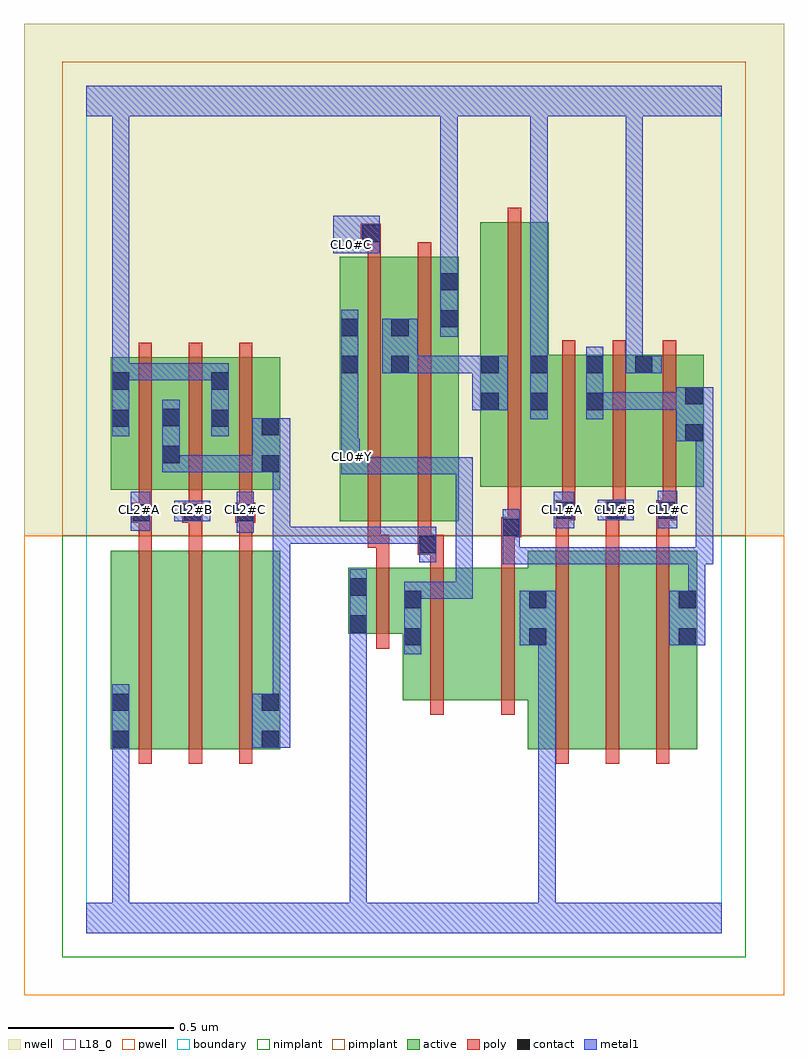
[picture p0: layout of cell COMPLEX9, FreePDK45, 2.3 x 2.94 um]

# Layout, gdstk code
import gdstk
lib = gdstk.Library(unit=1e-6, precision=1e-09)
def R(c, l, rs):  # rectangles x0, y0, x1, y1
    for r in rs: c.add(gdstk.rectangle(r[:2], r[2:], *l))
def A(c, l, x, y, w, h, nx, ny, dx, dy):  # array of equal rectangles
    R(c, l, [(x+i*dx, y+j*dy, x+i*dx+w, y+j*dy+h) for i in range(nx) for j in range(ny)])
active = (1, 0)
pwell = (2, 0)
nwell = (3, 0)
nimplant = (4, 0)
pimplant = (5, 0)
poly = (9, 0)
contact = (10, 0)
metal1 = (11, 0)
L18_0 = (18, 0)
boundary = (235, 0)

complex9 = lib.new_cell('COMPLEX9')
R(complex9, active, [(0.074,0.556,0.134,1.156), (0.074,0.556,0.254,1.156), (0.254,0.556,0.406,1.156), (0.406,0.556,0.586,1.156), (0.526,0.556,0.586,1.156), (1.334,0.556,1.514,1.156), (1.334,0.556,1.394,1.104), (1.514,0.556,1.666,1.156), (1.666,0.556,1.846,1.156), (1.786,0.556,1.846,1.156), (0.956,0.704,1.136,1.104), (1.136,0.704,1.394,1.104), (0.956,0.866,1.016,1.038), (0.792,0.904,1.016,1.104), (0.792,0.904,0.852,1.104), (0.766,1.244,0.826,2.044), (0.766,1.244,0.978,2.044), (0.918,1.244,1.126,2.044), (0.918,1.244,0.978,2.044), (1.066,1.244,1.126,2.044), (0.074,1.34,0.134,1.74), (0.074,1.34,0.286,1.74), (0.226,1.34,0.434,1.74), (0.374,1.34,0.586,1.74), (0.526,1.34,0.586,1.644), (1.19,1.348,1.398,2.148), (1.19,1.348,1.25,2.044), (1.338,1.348,1.398,1.748), (1.338,1.348,1.566,1.748), (1.506,1.348,1.566,1.748), (1.506,1.348,1.714,1.748), (1.654,1.348,1.714,1.748), (1.654,1.348,1.866,1.748), (1.806,1.348,1.866,1.748), (0.226,1.416,0.286,1.644), (0.374,1.472,0.434,1.698)])
R(complex9, pwell, [(-0.188,-0.188,2.108,1.2)])
R(complex9, nwell, [(-0.188,1.2,2.108,2.748)])
R(complex9, nimplant, [(-0.072,-0.072,1.992,1.2)])
R(complex9, pimplant, [(-0.072,1.2,1.992,2.632)])
A(complex9, poly, 0.158, 0.512, 0.04, 0.688, 3, 1, 0.152, 0)
A(complex9, poly, 1.418, 0.512, 0.04, 0.688, 3, 1, 0.152, 0)
A(complex9, poly, 0.158, 1.16, 0.04, 0.12, 3, 1, 0.152, 0)
A(complex9, poly, 1.418, 1.16, 0.04, 0.128, 3, 1, 0.152, 0)
A(complex9, poly, 1.418, 1.248, 0.06, 0.06, 3, 1, 0.152, 0)
A(complex9, poly, 0.158, 1.26, 0.04, 0.076, 3, 1, 0.152, 0)
A(complex9, poly, 1.438, 1.268, 0.04, 0.076, 3, 1, 0.152, 0)
A(complex9, poly, 0.158, 1.296, 0.04, 0.488, 3, 1, 0.152, 0)
A(complex9, poly, 1.438, 1.304, 0.04, 0.488, 3, 1, 0.152, 0)
R(complex9, poly, [(1.04,0.66,1.08,1.148), (1.254,0.66,1.294,1.148), (0.876,0.86,0.916,1.148), (0.876,1.108,0.916,1.204), (1.04,1.108,1.08,1.184), (1.254,1.108,1.294,1.236), (1.002,1.144,1.08,1.204), (0.85,1.164,0.89,1.24), (0.85,1.164,0.89,1.204), (0.85,1.164,0.89,1.204), (0.85,1.164,0.916,1.204), (1.002,1.164,1.042,1.24), (1.002,1.164,1.042,1.204), (1.002,1.164,1.042,1.204), (1.254,1.196,1.314,1.256), (0.85,1.2,0.89,2.088), (1.002,1.2,1.042,2.088), (1.274,1.216,1.314,1.256), (1.274,1.216,1.314,1.256), (1.274,1.216,1.314,1.344), (0.138,1.24,0.198,1.3), (0.158,1.24,0.198,1.28), (0.158,1.24,0.198,1.28), (0.29,1.24,0.35,1.3), (0.31,1.24,0.35,1.28), (0.31,1.24,0.35,1.28), (0.45,1.24,0.51,1.3), (0.462,1.24,0.502,1.28), (0.462,1.24,0.502,1.28), (1.418,1.248,1.458,1.288), (1.418,1.248,1.458,1.288), (1.57,1.248,1.61,1.288), (1.57,1.248,1.61,1.288), (1.722,1.248,1.762,1.288), (1.722,1.248,1.762,1.288), (1.274,1.304,1.314,2.192), (0.85,2.048,0.89,2.124), (0.83,2.084,0.89,2.144)])
A(complex9, contact, 1.422, 1.252, 0.052, 0.052, 3, 1, 0.152, 0)
R(complex9, contact, [(0.078,0.56,0.13,0.612), (0.53,0.56,0.582,0.612), (0.078,0.672,0.13,0.724), (0.53,0.672,0.582,0.724), (0.96,0.87,1.012,0.922), (1.338,0.87,1.39,0.922), (1.79,0.87,1.842,0.922), (0.796,0.908,0.848,0.96), (0.96,0.982,1.012,1.034), (1.338,0.982,1.39,1.034), (1.79,0.982,1.842,1.034), (0.796,1.02,0.848,1.072), (1.006,1.148,1.058,1.2), (1.258,1.2,1.31,1.252), (0.142,1.244,0.194,1.296), (0.294,1.244,0.346,1.296), (0.454,1.244,0.506,1.296), (0.53,1.392,0.582,1.444), (0.23,1.42,0.282,1.472), (1.81,1.486,1.862,1.538), (0.53,1.504,0.582,1.556), (0.078,1.53,0.13,1.582), (0.378,1.53,0.43,1.582), (0.23,1.532,0.282,1.584), (1.194,1.58,1.246,1.632), (1.342,1.58,1.394,1.632), (1.51,1.58,1.562,1.632), (1.81,1.598,1.862,1.65), (0.078,1.642,0.13,1.694), (0.378,1.642,0.43,1.694), (0.77,1.692,0.822,1.744), (0.922,1.692,0.974,1.744), (1.194,1.692,1.246,1.744), (1.342,1.692,1.394,1.744), (1.51,1.692,1.562,1.744), (1.658,1.692,1.71,1.744), (0.77,1.804,0.822,1.856), (0.922,1.804,0.974,1.856), (1.07,1.83,1.122,1.882), (1.07,1.942,1.122,1.994), (0.834,2.088,0.886,2.14)])
R(complex9, metal1, [(0,0,1.92,0.092), (0.078,0.04,0.13,0.092), (0.078,0.04,0.13,0.092), (0.078,0.04,0.13,0.092), (0.078,0.04,0.13,0.092), (0.078,0.04,0.13,0.092), (0.078,0.04,0.13,0.092), (0.078,0.04,0.13,0.092), (0.078,0.04,0.13,0.092), (0.078,0.04,0.13,0.584), (0.796,0.04,0.848,0.092), (0.796,0.04,0.848,0.092), (0.796,0.04,0.848,0.092), (0.796,0.04,0.848,0.092), (0.796,0.04,0.848,0.092), (0.796,0.04,0.848,0.092), (0.796,0.04,0.848,0.092), (0.796,0.04,0.848,0.092), (0.796,0.04,0.848,0.092), (0.796,0.04,0.848,0.092), (0.796,0.04,0.848,0.092), (0.796,0.04,0.848,0.092), (0.796,0.04,0.848,0.092), (0.796,0.04,0.848,0.092), (0.796,0.04,0.848,0.092), (0.796,0.04,0.848,0.092), (0.796,0.04,0.848,0.932), (1.366,0.04,1.418,0.092), (1.366,0.04,1.418,0.092), (1.366,0.04,1.418,0.092), (1.366,0.04,1.418,0.092), (1.366,0.04,1.418,0.092), (1.366,0.04,1.418,0.092), (1.366,0.04,1.418,0.922), (0.078,0.532,0.13,0.752), (0.502,0.56,0.616,0.724), (0.564,0.672,0.616,1.228), (0.96,0.842,1.012,1.062), (1.31,0.87,1.418,1.034), (1.366,0.87,1.418,0.922), (1.366,0.87,1.418,0.922), (1.762,0.87,1.87,1.034), (0.796,0.88,0.848,1.1), (1.818,0.982,1.87,1.166), (0.96,1.01,1.012,1.062), (0.96,1.01,1.012,1.062), (0.96,1.01,1.168,1.062), (1.116,1.01,1.168,1.062), (1.116,1.01,1.168,1.438), (1.258,1.114,1.42,1.166), (1.258,1.114,1.31,1.224), (1.368,1.114,1.42,1.166), (1.368,1.114,1.572,1.166), (1.52,1.114,1.572,1.166), (1.52,1.114,1.572,1.166), (1.52,1.114,1.572,1.166), (1.52,1.114,1.698,1.166), (1.646,1.114,1.698,1.166), (1.646,1.114,1.87,1.166), (1.818,1.114,1.87,1.166), (1.818,1.114,1.87,1.166), (1.818,1.114,1.894,1.166), (1.842,1.114,1.894,1.538), (1.006,1.12,1.058,1.228), (1.258,1.172,1.31,1.224), (1.258,1.172,1.31,1.28), (0.564,1.176,0.616,1.228), (0.564,1.176,0.836,1.228), (0.564,1.176,0.616,1.444), (0.784,1.176,0.836,1.228), (0.784,1.176,0.836,1.228), (0.784,1.176,0.836,1.228), (0.784,1.176,0.946,1.228), (0.894,1.176,0.946,1.228), (0.894,1.176,1.058,1.228), (0.454,1.21,0.506,1.334), (0.134,1.216,0.194,1.334), (1.412,1.224,1.474,1.334), (1.726,1.224,1.786,1.336), (0.266,1.244,0.374,1.306), (1.546,1.248,1.654,1.31), (0.77,1.386,0.826,1.494), (0.774,1.386,0.826,1.438), (0.774,1.386,0.826,1.438), (0.774,1.386,0.946,1.438), (0.894,1.386,0.946,1.438), (0.894,1.386,0.946,1.438), (0.894,1.386,0.946,1.438), (0.894,1.386,1.168,1.438), (1.116,1.386,1.168,1.438), (1.116,1.386,1.168,1.438), (1.116,1.386,1.168,1.438), (0.23,1.392,0.282,1.444), (0.23,1.392,0.282,1.444), (0.23,1.392,0.282,1.612), (0.23,1.392,0.444,1.444), (0.392,1.392,0.444,1.444), (0.392,1.392,0.554,1.444), (0.502,1.392,0.554,1.444), (0.502,1.392,0.554,1.444), (0.502,1.392,0.616,1.556), (0.564,1.392,0.616,1.444), (0.564,1.392,0.616,1.444), (0.77,1.442,0.822,1.716), (1.782,1.486,1.894,1.65), (1.842,1.486,1.894,1.538), (1.842,1.486,1.894,1.538), (0.078,1.502,0.13,1.722), (0.378,1.502,0.43,1.722), (1.342,1.552,1.394,1.772), (1.51,1.552,1.562,1.772), (1.166,1.58,1.274,1.744), (1.51,1.582,1.562,1.634), (1.51,1.582,1.562,1.634), (1.51,1.582,1.682,1.634), (1.63,1.582,1.682,1.634), (1.63,1.582,1.682,1.634), (1.63,1.582,1.682,1.634), (1.63,1.582,1.834,1.634), (0.77,1.664,0.822,1.884), (0.078,1.67,0.13,1.722), (0.078,1.67,0.13,1.722), (0.078,1.67,0.13,1.722), (0.078,1.67,0.13,1.722), (0.078,1.67,0.13,1.722), (0.078,1.67,0.13,1.722), (0.078,1.67,0.13,1.722), (0.078,1.67,0.13,1.722), (0.078,1.67,0.13,1.722), (0.078,1.67,0.13,1.722), (0.078,1.67,0.32,1.722), (0.078,1.67,0.13,2.52), (0.268,1.67,0.32,1.722), (0.268,1.67,0.32,1.722), (0.268,1.67,0.32,1.722), (0.268,1.67,0.43,1.722), (0.894,1.692,1.002,1.856), (0.95,1.692,1.002,1.744), (0.95,1.692,1.002,1.744), (0.95,1.692,1.122,1.744), (1.07,1.692,1.122,1.744), (1.07,1.692,1.218,1.744), (1.63,1.692,1.682,1.744), (1.63,1.692,1.682,1.744), (1.63,1.692,1.682,1.744), (1.63,1.692,1.682,1.744), (1.63,1.692,1.682,1.744), (1.63,1.692,1.682,1.744), (1.63,1.692,1.682,1.744), (1.63,1.692,1.682,1.744), (1.63,1.692,1.682,1.744), (1.63,1.692,1.682,1.744), (1.63,1.692,1.682,1.744), (1.63,1.692,1.682,1.744), (1.63,1.692,1.682,1.744), (1.63,1.692,1.682,1.744), (1.63,1.692,1.682,2.52), (1.63,1.692,1.738,1.744), (1.342,1.72,1.394,1.772), (1.342,1.72,1.394,1.772), (1.342,1.72,1.394,1.772), (1.342,1.72,1.394,1.772), (1.342,1.72,1.394,2.52), (1.07,1.802,1.122,2.022), (1.07,1.97,1.122,2.022), (1.07,1.97,1.122,2.022), (1.07,1.97,1.122,2.52), (0.746,2.054,0.886,2.168), (0,2.468,1.92,2.56), (0.078,2.468,0.13,2.52), (0.078,2.468,0.13,2.52), (0.078,2.468,0.13,2.52), (0.078,2.468,0.13,2.52), (0.078,2.468,0.13,2.52), (0.078,2.468,0.13,2.52), (0.078,2.468,0.13,2.52), (0.078,2.468,0.13,2.52), (1.07,2.468,1.122,2.52), (1.07,2.468,1.122,2.52), (1.07,2.468,1.122,2.52), (1.07,2.468,1.122,2.52), (1.07,2.468,1.122,2.52), (1.07,2.468,1.122,2.52), (1.342,2.468,1.394,2.52), (1.342,2.468,1.394,2.52), (1.342,2.468,1.394,2.52), (1.342,2.468,1.394,2.52), (1.63,2.468,1.682,2.52), (1.63,2.468,1.682,2.52)])
A(complex9, L18_0, 0.134, 1.254, 0.052, 0.052, 3, 1, 0.16, 0)
A(complex9, L18_0, 1.414, 1.254, 0.052, 0.052, 3, 1, 0.16, 0)
R(complex9, L18_0, [(0,0,1.92,0.092), (0.078,0.04,0.13,0.092), (0.078,0.04,0.13,0.092), (0.078,0.04,0.13,0.092), (0.078,0.04,0.13,0.092), (0.078,0.04,0.13,0.092), (0.078,0.04,0.13,0.092), (0.078,0.04,0.13,0.092), (0.078,0.04,0.13,0.092), (0.078,0.04,0.13,0.584), (0.796,0.04,0.848,0.092), (0.796,0.04,0.848,0.092), (0.796,0.04,0.848,0.092), (0.796,0.04,0.848,0.092), (0.796,0.04,0.848,0.092), (0.796,0.04,0.848,0.092), (0.796,0.04,0.848,0.092), (0.796,0.04,0.848,0.092), (0.796,0.04,0.848,0.092), (0.796,0.04,0.848,0.092), (0.796,0.04,0.848,0.092), (0.796,0.04,0.848,0.092), (0.796,0.04,0.848,0.092), (0.796,0.04,0.848,0.092), (0.796,0.04,0.848,0.092), (0.796,0.04,0.848,0.092), (0.796,0.04,0.848,0.932), (1.366,0.04,1.418,0.092), (1.366,0.04,1.418,0.092), (1.366,0.04,1.418,0.092), (1.366,0.04,1.418,0.092), (1.366,0.04,1.418,0.092), (1.366,0.04,1.418,0.092), (1.366,0.04,1.418,0.922), (0.078,0.532,0.13,0.752), (0.96,0.842,1.012,1.062), (1.31,0.87,1.418,1.034), (1.366,0.87,1.418,0.922), (1.366,0.87,1.418,0.922), (0.796,0.88,0.848,1.1), (0.96,1.01,1.012,1.062), (0.96,1.01,1.012,1.062), (0.96,1.01,1.168,1.062), (1.116,1.01,1.168,1.062), (1.116,1.01,1.168,1.438), (0.454,1.21,0.506,1.334), (0.134,1.216,0.194,1.334), (1.412,1.224,1.474,1.334), (1.726,1.224,1.786,1.336), (0.266,1.244,0.374,1.306), (1.546,1.248,1.654,1.31), (0.77,1.386,0.826,1.494), (0.774,1.386,0.826,1.438), (0.774,1.386,0.826,1.438), (0.774,1.386,0.946,1.438), (0.894,1.386,0.946,1.438), (0.894,1.386,0.946,1.438), (0.894,1.386,0.946,1.438), (0.894,1.386,1.168,1.438), (1.116,1.386,1.168,1.438), (1.116,1.386,1.168,1.438), (1.116,1.386,1.168,1.438), (0.774,1.414,0.826,1.466), (0.77,1.442,0.822,1.716), (0.078,1.502,0.13,1.722), (0.378,1.502,0.43,1.722), (1.342,1.552,1.394,1.772), (0.77,1.664,0.822,1.884), (0.078,1.67,0.13,1.722), (0.078,1.67,0.13,1.722), (0.078,1.67,0.13,1.722), (0.078,1.67,0.13,1.722), (0.078,1.67,0.13,1.722), (0.078,1.67,0.13,1.722), (0.078,1.67,0.13,1.722), (0.078,1.67,0.13,1.722), (0.078,1.67,0.13,1.722), (0.078,1.67,0.13,1.722), (0.078,1.67,0.13,2.52), (0.078,1.67,0.32,1.722), (0.268,1.67,0.32,1.722), (0.268,1.67,0.32,1.722), (0.268,1.67,0.32,1.722), (0.268,1.67,0.43,1.722), (1.63,1.692,1.682,1.744), (1.63,1.692,1.682,1.744), (1.63,1.692,1.682,1.744), (1.63,1.692,1.682,1.744), (1.63,1.692,1.682,1.744), (1.63,1.692,1.682,1.744), (1.63,1.692,1.682,1.744), (1.63,1.692,1.682,1.744), (1.63,1.692,1.682,1.744), (1.63,1.692,1.682,1.744), (1.63,1.692,1.682,1.744), (1.63,1.692,1.682,1.744), (1.63,1.692,1.682,1.744), (1.63,1.692,1.682,1.744), (1.63,1.692,1.738,1.744), (1.63,1.692,1.682,2.52), (1.342,1.72,1.394,1.772), (1.342,1.72,1.394,1.772), (1.342,1.72,1.394,1.772), (1.342,1.72,1.394,1.772), (1.342,1.72,1.394,2.52), (1.07,1.802,1.122,2.022), (1.07,1.97,1.122,2.022), (1.07,1.97,1.122,2.022), (1.07,1.97,1.122,2.52), (0.746,2.054,0.886,2.168), (0.774,2.054,0.826,2.106), (0,2.468,1.92,2.56), (0.078,2.468,0.13,2.52), (0.078,2.468,0.13,2.52), (0.078,2.468,0.13,2.52), (0.078,2.468,0.13,2.52), (0.078,2.468,0.13,2.52), (0.078,2.468,0.13,2.52), (0.078,2.468,0.13,2.52), (0.078,2.468,0.13,2.52), (1.07,2.468,1.122,2.52), (1.07,2.468,1.122,2.52), (1.07,2.468,1.122,2.52), (1.07,2.468,1.122,2.52), (1.07,2.468,1.122,2.52), (1.07,2.468,1.122,2.52), (1.342,2.468,1.394,2.52), (1.342,2.468,1.394,2.52), (1.342,2.468,1.394,2.52), (1.342,2.468,1.394,2.52), (1.63,2.468,1.682,2.52), (1.63,2.468,1.682,2.52)])
R(complex9, boundary, [(0,0,1.92,2.56)])
complex9.add(gdstk.Label('CL0#C', (0.8,2.08), layer=11, texttype=0))
complex9.add(gdstk.Label('CL0#Y', (0.8,1.44), layer=11, texttype=0))
complex9.add(gdstk.Label('CL1#A', (1.44,1.28), layer=11, texttype=0))
complex9.add(gdstk.Label('CL1#B', (1.6,1.28), layer=11, texttype=0))
complex9.add(gdstk.Label('CL1#C', (1.76,1.28), layer=11, texttype=0))
complex9.add(gdstk.Label('CL2#A', (0.16,1.28), layer=11, texttype=0))
complex9.add(gdstk.Label('CL2#B', (0.32,1.28), layer=11, texttype=0))
complex9.add(gdstk.Label('CL2#C', (0.48,1.28), layer=11, texttype=0))

lib.write_gds('COMPLEX9.gds')
